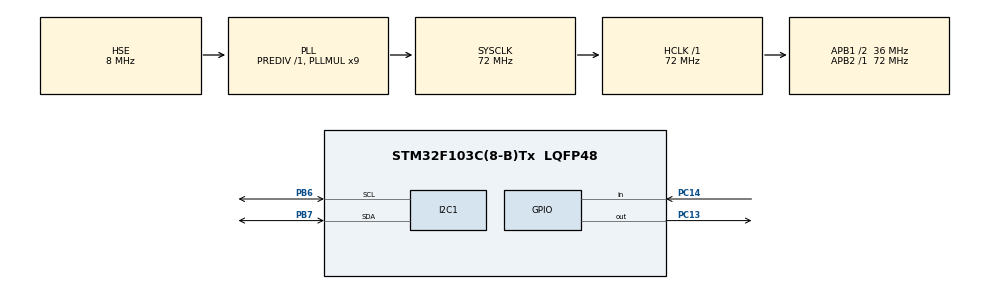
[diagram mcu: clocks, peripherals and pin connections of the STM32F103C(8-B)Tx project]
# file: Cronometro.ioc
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I2C1.I2C_Mode=I2C_Fast
Mcu.Family=STM32F1
Mcu.Name=STM32F103C(8-B)Tx
Mcu.Package=LQFP48
NVIC.PriorityGroup=NVIC_PRIORITYGROUP_4
PA13.Mode=Serial_Wire
PA13.Signal=SYS_JTMS-SWDIO
PA14.Mode=Serial_Wire
PA14.Signal=SYS_JTCK-SWCLK
PB6.Mode=I2C
PB6.Signal=I2C1_SCL
PB7.Mode=I2C
PB7.Signal=I2C1_SDA
PC13-TAMPER-RTC.Signal=GPIO_Output
PC14-OSC32_IN.Signal=GPIO_Input
PD0-OSC_IN.Mode=HSE-External-Oscillator
PD0-OSC_IN.Signal=RCC_OSC_IN
PD1-OSC_OUT.Mode=HSE-External-Oscillator
PD1-OSC_OUT.Signal=RCC_OSC_OUT
ProjectManager.HeapSize=0x200
ProjectManager.StackSize=0x400
ProjectManager.TargetToolchain=STM32CubeIDE
RCC.AHBFreq_Value=72000000
RCC.APB1CLKDivider=RCC_HCLK_DIV2
RCC.APB1Freq_Value=36000000
RCC.APB1TimFreq_Value=72000000
RCC.APB2Freq_Value=72000000
RCC.APB2TimFreq_Value=72000000
RCC.HCLKFreq_Value=72000000
RCC.PLLMUL=RCC_PLL_MUL9
RCC.PLLSourceVirtual=RCC_PLLSOURCE_HSE
RCC.SYSCLKFreq_VALUE=72000000
RCC.SYSCLKSource=RCC_SYSCLKSOURCE_PLLCLK
RCC.USBFreq_Value=72000000
board=custom

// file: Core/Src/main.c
/* USER CODE BEGIN Header */
/**
  ******************************************************************************
  * @file           : main.c
  * @brief          : Main program body
  ******************************************************************************
  * @attention
  *
  * <h2><center>&copy; Copyright (c) 2020 STMicroelectronics.
  * All rights reserved.</center></h2>
  *
  * This software component is licensed by ST under BSD 3-Clause license,
  * the "License"; You may not use this file except in compliance with the
  * License. You may obtain a copy of the License at:
  *                        opensource.org/licenses/BSD-3-Clause
  *
  ******************************************************************************
  */
/* USER CODE END Header */

#include "main.h"

/* USER CODE BEGIN Includes */

#include "ssd1306.h"
#include "fonts.h"
#include "test.h"
/* USER CODE END Includes */

I2C_HandleTypeDef hi2c1;

void SystemClock_Config(void);
static void MX_GPIO_Init(void);
static void MX_I2C1_Init(void);

int main(void)
{

  /* MCU Configuration--------------------------------------------------------*/

  /* Reset of all peripherals, Initializes the Flash interface and the Systick. */
  HAL_Init();

  /* Configure the system clock */
  SystemClock_Config();

  /* Initialize all configured peripherals */
  MX_GPIO_Init();
  MX_I2C1_Init();
  /* USER CODE BEGIN 2 */

  SSD1306_Init();
  uint8_t status=0,button=0;
  int tempobase=100,ms=0,s=0,m=0;
  uint32_t now=0,now_display=0,now_button=0;
  char c_ms[2],c_s[2],c_m[2];

  /* USER CODE END 2 */

  /* Infinite loop */
  while (1)
  {

    /* USER CODE BEGIN 3 */

	  //Lê botão
	  while(HAL_GPIO_ReadPin(GPIOC,GPIO_PIN_14)==GPIO_PIN_RESET){
		  if(HAL_GetTick()-now_button > 100){
			  now_button = HAL_GetTick();
			  button=1;
		  }
	  }

	  //Zera cronometro
	  if(status==0){
		  ms=0;
		  s=0;
		  m=0;
	  }

	  if(button==1){
		  button=0;
		  if(status<3){
			  status++;
		  }
		  else status=0;
	  }

	  // Contador do tempo

	  if(HAL_GetTick()-now > tempobase && status==2){
		  now = HAL_GetTick();
		  ms++;
	  }
	  if(ms>9){ //valor 10
		  s++;
		  ms=0;
		  HAL_GPIO_TogglePin(GPIOC, GPIO_PIN_13);
	  }
	  if(s>59){
		  m++;
		  s=0;
	  }
	  if(m>59){
		  m=0;
	  }

	  itoa(ms,c_ms,10);
	  itoa(s,c_s,10);
	  itoa(m,c_m,10);

	  //Atualiza display

	  if(HAL_GetTick()-now_display > 100){
		  now_display = HAL_GetTick();
		  if(m<10){
			  SSD1306_GotoXY (0,20);
			  SSD1306_Puts ("0", &Font_16x26, SSD1306_COLOR_WHITE);
			  SSD1306_GotoXY (16,20);
			  SSD1306_Puts (c_m, &Font_16x26, SSD1306_COLOR_WHITE);
		  }
		  else{
		  SSD1306_GotoXY (0,20);
		  SSD1306_Puts (c_m, &Font_16x26, SSD1306_COLOR_WHITE);
		  }

		  if(s<10){
			  SSD1306_GotoXY (54,20);
			  SSD1306_Puts ("0", &Font_16x26, SSD1306_COLOR_WHITE);
			  SSD1306_GotoXY (70,20);
			  SSD1306_Puts (c_s, &Font_16x26, SSD1306_COLOR_WHITE);
		  }
		  else{
			  SSD1306_GotoXY (54,20);
			  SSD1306_Puts (c_s, &Font_16x26, SSD1306_COLOR_WHITE);
		  }

		  SSD1306_GotoXY (36,20);
		  SSD1306_Puts (":", &Font_16x26, SSD1306_COLOR_WHITE);

		  SSD1306_GotoXY (86,20);
		  SSD1306_Puts (":", &Font_16x26, SSD1306_COLOR_WHITE);

		  SSD1306_GotoXY (102,20);
		  SSD1306_Puts (c_ms, &Font_16x26, SSD1306_COLOR_WHITE);
		  SSD1306_UpdateScreen();
	  }

  }
  /* USER CODE END 3 */
}

void SystemClock_Config(void)
{
  RCC_OscInitTypeDef RCC_OscInitStruct = {0};
  RCC_ClkInitTypeDef RCC_ClkInitStruct = {0};

  /** Initializes the CPU, AHB and APB busses clocks
  */
  RCC_OscInitStruct.OscillatorType = RCC_OSCILLATORTYPE_HSE;
  RCC_OscInitStruct.HSEState = RCC_HSE_ON;
  RCC_OscInitStruct.HSEPredivValue = RCC_HSE_PREDIV_DIV1;
  RCC_OscInitStruct.HSIState = RCC_HSI_ON;
  RCC_OscInitStruct.PLL.PLLState = RCC_PLL_ON;
  RCC_OscInitStruct.PLL.PLLSource = RCC_PLLSOURCE_HSE;
  RCC_OscInitStruct.PLL.PLLMUL = RCC_PLL_MUL9;
  if (HAL_RCC_OscConfig(&RCC_OscInitStruct) != HAL_OK)
  {
    Error_Handler();
  }
  /** Initializes the CPU, AHB and APB busses clocks
  */
  RCC_ClkInitStruct.ClockType = RCC_CLOCKTYPE_HCLK|RCC_CLOCKTYPE_SYSCLK
                              |RCC_CLOCKTYPE_PCLK1|RCC_CLOCKTYPE_PCLK2;
  RCC_ClkInitStruct.SYSCLKSource = RCC_SYSCLKSOURCE_PLLCLK;
  RCC_ClkInitStruct.AHBCLKDivider = RCC_SYSCLK_DIV1;
  RCC_ClkInitStruct.APB1CLKDivider = RCC_HCLK_DIV2;
  RCC_ClkInitStruct.APB2CLKDivider = RCC_HCLK_DIV1;

  if (HAL_RCC_ClockConfig(&RCC_ClkInitStruct, FLASH_LATENCY_2) != HAL_OK)
  {
    Error_Handler();
  }
}

static void MX_I2C1_Init(void)
{

  hi2c1.Instance = I2C1;
  hi2c1.Init.ClockSpeed = 400000;
  hi2c1.Init.DutyCycle = I2C_DUTYCYCLE_2;
  hi2c1.Init.OwnAddress1 = 0;
  hi2c1.Init.AddressingMode = I2C_ADDRESSINGMODE_7BIT;
  hi2c1.Init.DualAddressMode = I2C_DUALADDRESS_DISABLE;
  hi2c1.Init.OwnAddress2 = 0;
  hi2c1.Init.GeneralCallMode = I2C_GENERALCALL_DISABLE;
  hi2c1.Init.NoStretchMode = I2C_NOSTRETCH_DISABLE;
  if (HAL_I2C_Init(&hi2c1) != HAL_OK)
  {
    Error_Handler();
  }

}

static void MX_GPIO_Init(void)
{
  GPIO_InitTypeDef GPIO_InitStruct = {0};

  /* GPIO Ports Clock Enable */
  __HAL_RCC_GPIOC_CLK_ENABLE();
  __HAL_RCC_GPIOD_CLK_ENABLE();
  __HAL_RCC_GPIOA_CLK_ENABLE();
  __HAL_RCC_GPIOB_CLK_ENABLE();

  /*Configure GPIO pin Output Level */
  HAL_GPIO_WritePin(GPIOC, GPIO_PIN_13, GPIO_PIN_RESET);

  /*Configure GPIO pin : PC13 */
  GPIO_InitStruct.Pin = GPIO_PIN_13;
  GPIO_InitStruct.Mode = GPIO_MODE_OUTPUT_PP;
  GPIO_InitStruct.Pull = GPIO_NOPULL;
  GPIO_InitStruct.Speed = GPIO_SPEED_FREQ_LOW;
  HAL_GPIO_Init(GPIOC, &GPIO_InitStruct);

  /*Configure GPIO pin : PC14 */
  GPIO_InitStruct.Pin = GPIO_PIN_14;
  GPIO_InitStruct.Mode = GPIO_MODE_INPUT;
  GPIO_InitStruct.Pull = GPIO_NOPULL;
  HAL_GPIO_Init(GPIOC, &GPIO_InitStruct);

}

void Error_Handler(void)
{
}

/************************ (C) COPYRIGHT STMicroelectronics *****END OF FILE****/
